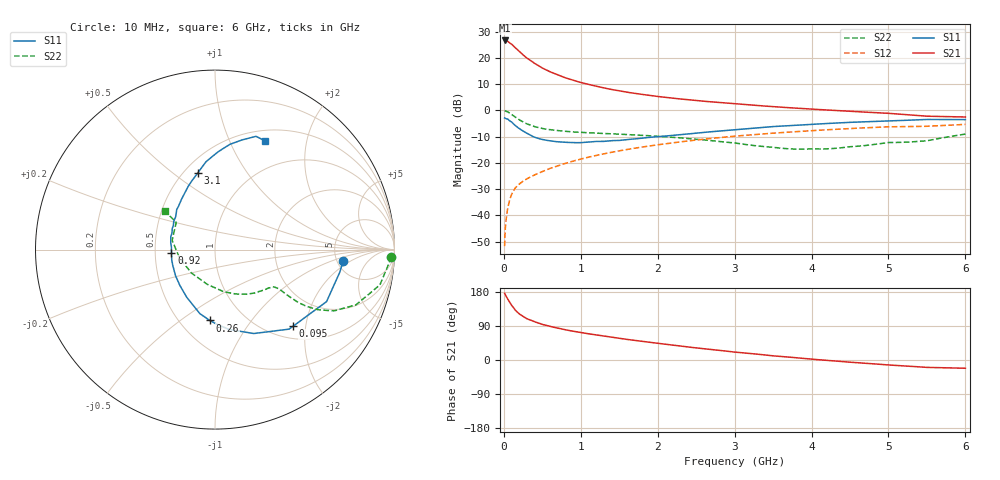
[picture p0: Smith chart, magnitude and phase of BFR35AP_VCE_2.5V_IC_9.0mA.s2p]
! Infineon Technologies  Discrete & RF Semiconductors
! BFR35AP
! VCE =  2.5 V,  IC =  9.0 mA
! Common Emitter S-Parameters:  Nov 2015
# GHz  S  MA  R  50
!  f  S11  S21  S12  S22
! GHz  MAG  ANG  MAG  ANG  MAG  ANG  MAG  ANG
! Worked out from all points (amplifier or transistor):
!   210 points, 10 MHz to 6 GHz, reference 50 ohm
!   highest |S21| = 26.6 dB at 10 MHz (marker M1)
!   |S21| within 3 dB of that: start of sweep to 158.2 MHz
!   unconditionally stable (mu >= 1): 586.7 MHz to 3.542 GHz
!   at 185 MHz: K = 0.54, MSG = 25.7 dB, |S12| = -28.5 dB
!   at 1.52 GHz: K = 1.12, MAG = 9.2 dB, |S12| = -15.3 dB
!   at 6 GHz: K = 0.97, MSG = 1.4 dB, |S12| = -5.3 dB
!   S11 on the Smith chart (normalised r, x): 10 MHz: 5.63, -1.53; 95 MHz: 1.25, -1.70; 260 MHz: 0.69, -0.65; 920 MHz: 0.61, -0.02; 3.1 GHz: 0.58, +0.62; 6 GHz: 0.63, +1.37
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0.01  0.7165 -5.3  21.43 175.9  0.0026 85.6  0.9829 -2.4
0.02  0.7065 -10.3  21.29 171.7  0.0059 85.0  0.9702 -4.9
0.05  0.6858 -25.0  20.7 160.5  0.0136 77.9  0.9396 -12.1
0.095  0.6093 -44.6  18.45 146.1  0.0239 70.4  0.8522 -20.4
0.1  0.6057 -47.0  18.28 144.3  0.0251 69.9  0.8437 -21.4
0.15  0.5151 -65.2  15.56 130.9  0.0336 64.2  0.7461 -27.2
0.2  0.4519 -80.0  13.33 121.6  0.0395 61.2  0.6636 -30.3
0.24  0.4126 -89.5  11.74 116.1  0.0438 60.7  0.6126 -31.5
0.26  0.3959 -94.2  11.06 113.5  0.0459 60.6  0.5907 -31.9
0.3  0.3666 -103.3  9.902 108.8  0.0498 60.4  0.5538 -32.4
0.4  0.3085 -120.8  7.847 100.6  0.0591 60.6  0.4906 -32.3
0.5  0.2794 -134.5  6.399 93.9  0.0683 61.7  0.4507 -31.9
0.6  0.2638 -146.4  5.437 88.6  0.0784 62.2  0.4285 -31.7
0.7  0.2525 -158.0  4.725 83.8  0.0874 62.9  0.4123 -31.7
0.92  0.2431 -176.0  3.669 75.3  0.1102 62.9  0.3869 -32.5
1.02  0.2442 175.9  3.339 71.9  0.1203 62.8  0.3797 -33.4
1.4  0.2659 153.6  2.497 60.1  0.1592 60.8  0.3584 -38.3
2.02  0.3169 129.6  1.826 43.6  0.2232 55.0  0.3197 -49.7
3.1  0.4385 102.6  1.301 19.1  0.3315 42.1  0.2285 -82.4
4.1  0.5531 87.0  1.037 0.6  0.4196 29.1  0.1839 -142.0
5.1  0.6369 74.9  0.857 -14.3  0.488 15.2  0.245 162.9
6  0.6673 65.1  0.748 -21.8  0.5409 5.1  0.3535 142.5
